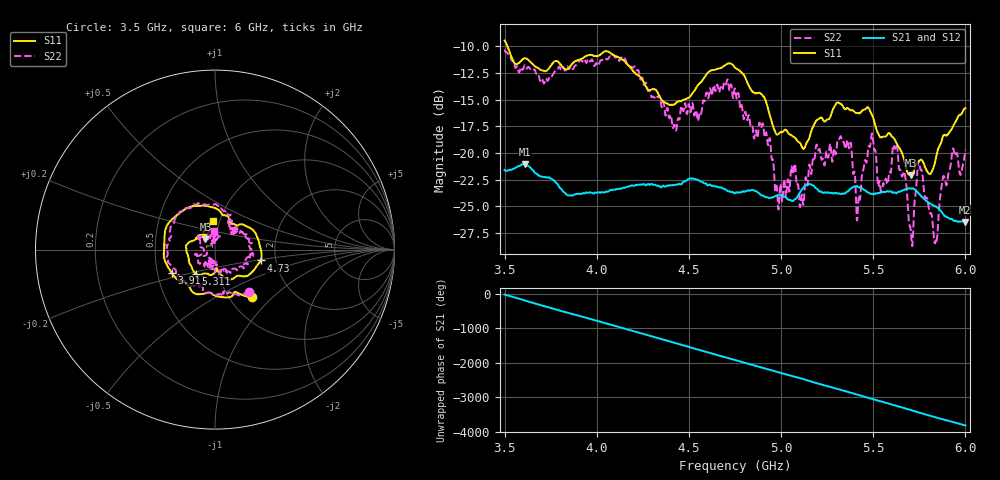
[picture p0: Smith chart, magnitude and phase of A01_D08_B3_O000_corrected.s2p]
! Created with skrf 1.9.0 (http://scikit-rf.org).
# Hz S RI R 50.0
!freq ReS11 ImS11 ReS21 ImS21 ReS12 ImS12 ReS22 ImS22
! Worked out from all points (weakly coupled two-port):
!   1601 points, 3.5 GHz to 6 GHz, reference 50 ohm
!   highest |S21| = -21.04 dB at 3.609 GHz (marker M1); lowest = -26.4 dB at 5.995 GHz (marker M2)
!   lowest |S11| = -22.1 dB at 5.706 GHz (marker M3), VSWR 1.17, Z = 44.6 + j5.16 ohm
!   |S11| at or under -10 dB: 3.515 GHz to end of sweep
!   |S22| runs from -28.7 to -10.3 dB; largest |S21 - S12| = 0.0012
!   S11 on the Smith chart (normalised r, x): 3.5 GHz: 1.27, -0.76; 3.911 GHz: 0.59, -0.17; 4.73 GHz: 1.66, -0.22; 5.311 GHz: 0.78, -0.22; 6 GHz: 0.93, +0.31
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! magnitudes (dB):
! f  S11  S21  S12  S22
! 3.5 GHz  -9.5  -21.6  -21.6  -10.3
! 3.609 GHz  -11.1  -21.0  -21.1  -11.8
! 3.911 GHz  -11.3  -23.8  -23.8  -11.3
! 3.917 GHz  -11.2  -23.8  -23.8  -11.4
! 4.334 GHz  -14.5  -23.1  -23.0  -14.8
! 4.73 GHz  -11.7  -23.7  -23.6  -13.6
! 4.75 GHz  -12.0  -23.8  -23.7  -14.0
! 4.93 GHz  -15.9  -24.2  -24.1  -19.3
! 4.98 GHz  -18.3  -24.0  -24.0  -23.8
! 5.167 GHz  -17.8  -23.0  -23.0  -21.5
! 5.311 GHz  -15.3  -23.8  -23.8  -18.7
! 5.372 GHz  -15.9  -23.4  -23.4  -19.5
! 5.417 GHz  -16.3  -23.2  -23.2  -25.1
! 5.487 GHz  -16.2  -23.8  -23.8  -18.8
! 5.584 GHz  -18.1  -23.6  -23.6  -22.1
! 5.622 GHz  -18.9  -23.8  -23.8  -19.4
! 5.706 GHz  -22.1  -23.3  -23.3  -27.8
! 5.75 GHz  -20.7  -23.8  -23.8  -20.9
! 5.838 GHz  -20.7  -25.0  -25.0  -28.2
! 5.878 GHz  -18.4  -25.7  -25.7  -22.3
! 5.995 GHz  -15.8  -26.4  -26.4  -20.3
! 6 GHz  -15.8  -26.4  -26.4  -19.7
